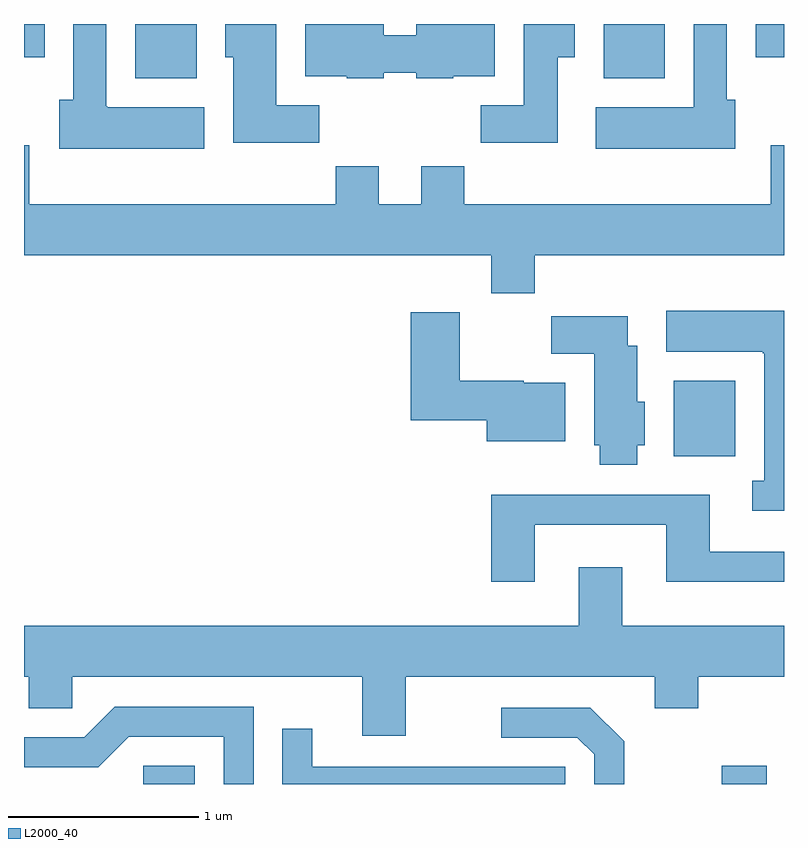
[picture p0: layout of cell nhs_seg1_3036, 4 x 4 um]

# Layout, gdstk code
import gdstk
lib = gdstk.Library(unit=1e-6, precision=1e-09)
def R(c, l, rs):  # rectangles x0, y0, x1, y1
    for r in rs: c.add(gdstk.rectangle(r[:2], r[2:], *l))
def P(c, l, *ps):  # polygons
    for p in ps: c.add(gdstk.Polygon(p, *l))
L2000_40 = (2000, 40)

nhs_seg1_3036 = lib.new_cell('nhs_seg1_3036')
R(nhs_seg1_3036, L2000_40, [(278.238,865.712,278.509,865.809), (281.283,865.712,281.519,865.809), (281.031,867.436,281.354,867.834), (278.196,869.426,278.519,869.712), (280.661,869.426,280.984,869.712), (277.611,869.536,277.719,869.712), (281.461,869.536,281.611,869.712)])
P(nhs_seg1_3036, L2000_40, [(279.164,869.284),(278.939,869.284),(278.939,869.712),(278.671,869.712),(278.671,869.536),(278.711,869.536),(278.711,869.086),(279.164,869.086)],
  [(279.504,869.456),(279.676,869.456),(279.676,869.426),(279.87,869.426),(279.87,869.436),(280.089,869.436),(280.089,869.712),(279.676,869.712),(279.676,869.654),(279.504,869.654),(279.504,869.712),(279.091,869.712),(279.091,869.436),(279.31,869.436),(279.31,869.426),(279.504,869.426)],
  [(278.559,869.274),(278.05,869.274),(278.05,869.28),(278.044,869.28),(278.044,869.712),(277.871,869.712),(277.871,869.314),(277.796,869.314),(277.796,869.056),(278.559,869.056)],
  [(281.354,869.314),(281.309,869.314),(281.309,869.712),(281.136,869.712),(281.136,869.274),(280.621,869.274),(280.621,869.056),(281.354,869.056)],
  [(280.419,869.536),(280.509,869.536),(280.509,869.712),(280.241,869.712),(280.241,869.284),(280.016,869.284),(280.016,869.086),(280.419,869.086)],
  [(281.611,869.074),(281.541,869.074),(281.541,868.764),(279.929,868.764),(279.929,868.964),(279.701,868.964),(279.701,868.764),(279.479,868.764),(279.479,868.964),(279.251,868.964),(279.251,868.764),(277.639,868.764),(277.639,869.074),(277.611,869.074),(277.611,868.496),(280.071,868.496),(280.071,868.296),(280.299,868.296),(280.299,868.496),(281.611,868.496)],
  [(281.611,868.204),(280.991,868.204),(280.991,867.986),(281.5,867.986),(281.5,867.98),(281.506,867.98),(281.506,867.309),(281.443,867.309),(281.443,867.151),(281.611,867.151)],
  [(280.459,867.824),(280.24,867.824),(280.24,867.834),(279.904,867.834),(279.904,868.194),(279.646,868.194),(279.646,867.626),(280.046,867.626),(280.046,867.516),(280.459,867.516)],
  [(280.839,867.496),(280.879,867.496),(280.879,867.724),(280.839,867.724),(280.839,868.019),(280.789,868.019),(280.789,868.174),(280.386,868.174),(280.386,867.976),(280.611,867.976),(280.611,867.496),(280.641,867.496),(280.641,867.391),(280.839,867.391)],
  [(280.299,867.076),(280.991,867.076),(280.991,866.776),(281.611,866.776),(281.611,866.934),(281.219,866.934),(281.219,867.234),(280.071,867.234),(280.071,866.776),(280.299,866.776)],
  [(279.619,866.276),(280.931,866.276),(280.931,866.111),(281.159,866.111),(281.159,866.276),(281.611,866.276),(281.611,866.544),(280.759,866.544),(280.759,866.854),(280.531,866.854),(280.531,866.544),(277.611,866.544),(277.611,866.276),(277.636,866.276),(277.636,866.111),(277.864,866.111),(277.864,866.276),(279.391,866.276),(279.391,865.966),(279.619,865.966)],
  [(278.819,866.119),(278.089,866.119),(277.929,865.959),(277.611,865.959),(277.611,865.801),(278.002,865.801),(278.162,865.961),(278.661,865.961),(278.661,865.712),(278.819,865.712)],
  [(280.769,865.937),(280.592,866.114),(280.123,866.114),(280.123,865.956),(280.524,865.956),(280.611,865.869),(280.611,865.712),(280.769,865.712)],
  [(280.459,865.804),(279.129,865.804),(279.129,866.003),(278.971,866.003),(278.971,865.712),(280.459,865.712)])

lib.write_gds('nhs_seg1_3036.gds')
